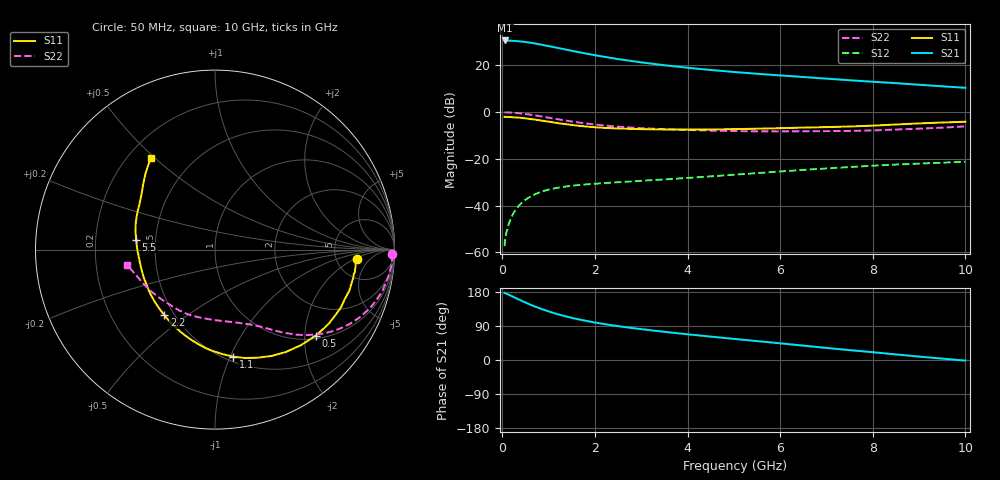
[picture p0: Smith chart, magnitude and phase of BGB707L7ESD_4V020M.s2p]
!  Infineon Technologies AG
!  BGB707L7ESD
!  Vce = 4.0V, Ic = 20.0mA
!  DATUM: 30.06.2009 10:58:43
# GHz  S  MA  R  50
!f  S11  S21  S12  S22
!GHz  Mag  Ang  Mag  Ang  Mag  Ang  Mag  Ang
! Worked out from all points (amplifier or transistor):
!   52 points, 50 MHz to 10 GHz, reference 50 ohm
!   highest |S21| = 30.7 dB at 60 MHz (marker M1)
!   |S21| within 3 dB of that: start of sweep to 1.148 GHz
!   unconditionally stable (mu >= 1): 4.356 GHz to 8.316 GHz
!   at 130 MHz: K = 0.13, MSG = 39.6 dB, |S12| = -48.5 dB
!   at 1.4 GHz: K = 0.43, MSG = 29.2 dB, |S12| = -31.7 dB
!   at 10 GHz: K = 0.91, MSG = 15.8 dB, |S12| = -21.2 dB
!   S11 on the Smith chart (normalised r, x): 50 MHz: 8.01, -2.38; 500 MHz: 1.07, -2.26; 1.1 GHz: 0.54, -1.02; 2.2 GHz: 0.44, -0.41; 5.5 GHz: 0.39, +0.05; 10 GHz: 0.29, +0.49
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0.05  0.7944 -4.0  33.58 177.1  0.001363 72.2  0.9854 -1.5
0.06  0.7906 -4.9  34.14 176.5  0.001916 74.4  0.987 -2.1
0.08  0.7893 -6.6  33.63 175.3  0.002414 80.3  0.9874 -3.2
0.09  0.7881 -7.7  33.91 175.3  0.00265 75.3  0.9872 -3.7
0.1  0.7884 -8.4  33.71 174.2  0.002991 79.9  0.9868 -4.2
0.2  0.7829 -16.9  33.7 168.8  0.005798 77.9  0.9778 -9.0
0.3  0.7718 -24.8  33.17 163.0  0.008493 75.2  0.9623 -13.5
0.5  0.7376 -40.6  31.62 151.8  0.0134 68.9  0.9147 -21.7
0.7  0.6939 -55.2  29.52 141.3  0.01751 62.4  0.8559 -29.1
0.9  0.6476 -68.4  27.04 132.3  0.02072 57.4  0.793 -35.2
1.1  0.6048 -80.5  24.73 124.3  0.02322 53.3  0.7326 -40.2
1.3  0.565 -91.3  22.53 117.4  0.02517 50.3  0.6788 -44.5
1.5  0.5325 -100.7  20.52 111.2  0.02666 48.1  0.6313 -48.0
1.8  0.4947 -113.4  17.97 103.5  0.02847 46.0  0.5746 -52.4
2.2  0.4618 -127.7  15.28 94.9  0.03044 44.8  0.519 -57.2
2.8  0.438 -144.3  12.38 84.4  0.03311 45.0  0.4676 -63.7
3.5  0.4266 -158.5  10.08 74.3  0.03647 46.7  0.4331 -71.0
4.5  0.4263 -174.0  7.973 61.7  0.04237 49.3  0.4034 -82.0
5.5  0.4428 172.8  6.619 49.9  0.04978 50.8  0.389 -95.8
7  0.4792 154.4  5.214 31.8  0.06263 49.6  0.3933 -120.4
8.5  0.5446 137.1  4.17 14.7  0.07588 45.3  0.4245 -146.4
10  0.6245 124.8  3.32 -1.6  0.08727 40.6  0.497 -170.0
